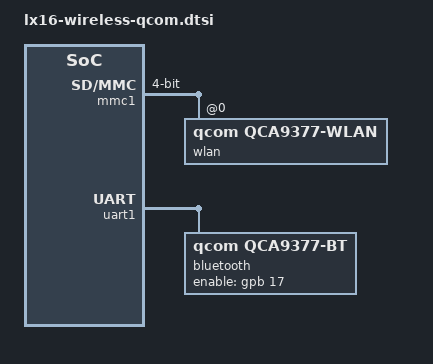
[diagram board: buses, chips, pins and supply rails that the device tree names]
/* RedBean module (Qualcomm) */

&mmc1 {
	status = "okay";
	pinctrl-names ="default";
	pinctrl-0 = <&msc1_4bit>;

	bus-width = <4>;
	max-frequency = <50000000>;

	broken-cd;

	#address-cells = <1>;
	#size-cells = <0>;

	voltage-ranges = <1800 3300>;	// hardware doesn't support!

	max-frequency = <50000000>;
	wlan: wlan@0 {
		compatible = "qcom,qca9377-wlan";
		reg = <0>;
//		interrupt-parent = <&gpio5>;
//		interrupts = <11 IRQ_TYPE_LEVEL_HIGH>;	/* GPIO_139 */
//		ref-clock-frequency = <26000000>;
	};
};

&uart1 {
	status = "okay";
	pinctrl-names = "default";
	pinctrl-0 = <&uart1_pb>;
//	uart-has-rtscts;

	bluetooth: bluetooth {
		compatible = "qcom,qca9377-bt";
		enable-gpios = <&gpb 17 GPIO_ACTIVE_HIGH>;
		max-speed = <200000>;
	//	clocks = <&wifi32k>;
	//	vdd-supply = <&bt_en>;
	};
};
